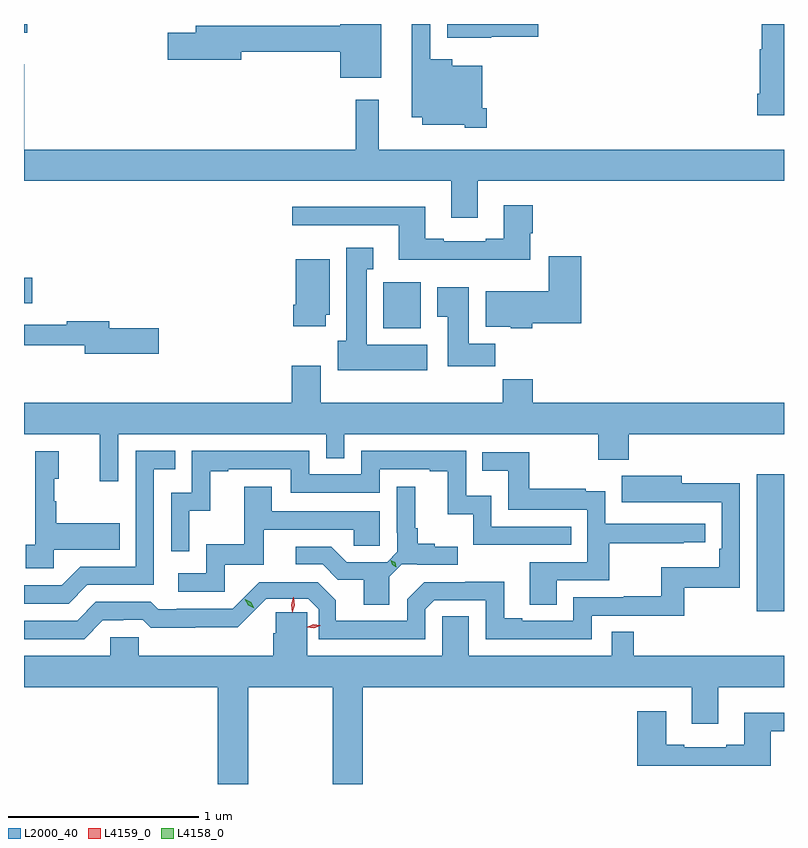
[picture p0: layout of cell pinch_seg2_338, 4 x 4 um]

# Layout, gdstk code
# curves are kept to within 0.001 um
import gdstk
lib = gdstk.Library(unit=1e-6, precision=1e-09)
def R(c, l, rs):  # rectangles x0, y0, x1, y1
    for r in rs: c.add(gdstk.rectangle(r[:2], r[2:], *l))
def P(c, l, *ps):  # polygons
    for p in ps: c.add(gdstk.Polygon(p, *l))
L2000_40 = (2000, 40)
L4158_0 = (4158, 0)
L4159_0 = (4159, 0)

pinch_seg2_338 = lib.new_cell('pinch_seg2_338')
R(pinch_seg2_338, L2000_40, [(1014.701,634.716,1014.844,635.437), (1012.736,636.206,1012.933,636.448), (1010.844,636.335,1010.887,636.47), (1010.844,637.76,1010.86,637.806)])
P(pinch_seg2_338, L2000_40, [(1014.844,637.806),(1014.728,637.806),(1014.728,637.674),(1014.716,637.674),(1014.716,637.438),(1014.704,637.438),(1014.704,637.326),(1014.844,637.326)],
  [(1012.723,637.806),(1012.508,637.806),(1012.508,637.796),(1011.749,637.796),(1011.749,637.76),(1011.6,637.76),(1011.6,637.618),(1011.988,637.618),(1011.988,637.66),(1012.508,637.66),(1012.508,637.523),(1012.723,637.523)],
  [(1013.304,637.739),(1013.551,637.739),(1013.551,637.806),(1013.072,637.806),(1013.072,637.733),(1013.304,637.733)],
  [(1013.279,637.363),(1013.257,637.363),(1013.257,637.585),(1013.098,637.585),(1013.098,637.621),(1012.983,637.621),(1012.983,637.806),(1012.886,637.806),(1012.886,637.316),(1012.94,637.316),(1012.94,637.277),(1013.163,637.277),(1013.163,637.259),(1013.279,637.259)],
  [(1013.233,636.98),(1014.844,636.98),(1014.844,637.144),(1012.71,637.144),(1012.71,637.408),(1012.591,637.408),(1012.591,637.144),(1010.845,637.144),(1010.845,637.594),(1010.844,637.594),(1010.844,636.98),(1013.093,636.98),(1013.093,636.786),(1013.233,636.786)],
  [(1013.509,636.705),(1013.522,636.705),(1013.522,636.853),(1013.369,636.853),(1013.369,636.676),(1013.273,636.676),(1013.273,636.663),(1013.053,636.663),(1013.053,636.676),(1012.957,636.676),(1012.957,636.844),(1012.257,636.844),(1012.257,636.747),(1012.817,636.747),(1012.817,636.566),(1013.509,636.566)],
  [(1012.966,636.118),(1012.648,636.118),(1012.648,636.515),(1012.681,636.515),(1012.681,636.628),(1012.541,636.628),(1012.541,636.138),(1012.496,636.138),(1012.496,635.984),(1012.966,635.984)],
  [(1013.52,636.23),(1013.777,636.23),(1013.777,636.583),(1013.606,636.583),(1013.606,636.4),(1013.273,636.4),(1013.273,636.212),(1013.406,636.212),(1013.406,636.206),(1013.52,636.206)],
  [(1012.432,636.276),(1012.453,636.276),(1012.453,636.568),(1012.274,636.568),(1012.274,636.328),(1012.262,636.328),(1012.262,636.216),(1012.432,636.216)],
  [(1013.324,636.124),(1013.185,636.124),(1013.185,636.421),(1013.018,636.421),(1013.018,636.265),(1013.075,636.265),(1013.075,636.006),(1013.324,636.006)],
  [(1011.553,636.206),(1011.292,636.206),(1011.292,636.242),(1011.068,636.242),(1011.068,636.222),(1010.844,636.222),(1010.844,636.114),(1011.164,636.114),(1011.164,636.071),(1011.553,636.071)],
  [(1011.339,635.648),(1012.434,635.648),(1012.434,635.521),(1012.53,635.521),(1012.53,635.648),(1013.866,635.648),(1013.866,635.513),(1014.026,635.513),(1014.026,635.648),(1014.844,635.648),(1014.844,635.812),(1013.522,635.812),(1013.522,635.936),(1013.365,635.936),(1013.365,635.812),(1012.405,635.812),(1012.405,636.007),(1012.253,636.007),(1012.253,635.812),(1010.844,635.812),(1010.844,635.648),(1011.242,635.648),(1011.242,635.4),(1011.339,635.4)],
  [(1011.714,635.243),(1011.824,635.243),(1011.824,635.451),(1011.919,635.451),(1011.919,635.463),(1012.248,635.463),(1012.248,635.34),(1012.716,635.34),(1012.716,635.463),(1012.979,635.463),(1012.979,635.451),(1013.075,635.451),(1013.075,635.225),(1013.208,635.225),(1013.208,635.064),(1013.723,635.064),(1013.723,635.16),(1013.304,635.16),(1013.304,635.323),(1013.172,635.323),(1013.172,635.559),(1012.62,635.559),(1012.62,635.436),(1012.344,635.436),(1012.344,635.559),(1011.726,635.559),(1011.726,635.34),(1011.618,635.34),(1011.618,635.031),(1011.714,635.031)],
  [(1011.178,634.854),(1011.528,634.854),(1011.528,635.463),(1011.641,635.463),(1011.641,635.559),(1011.432,635.559),(1011.432,634.95),(1011.141,634.95),(1011.042,634.851),(1010.844,634.851),(1010.844,634.755),(1011.079,634.755)],
  [(1011,635.039),(1011.347,635.039),(1011.347,635.179),(1011.013,635.179),(1011.013,635.294),(1011.003,635.294),(1011.003,635.412),(1011.028,635.412),(1011.028,635.557),(1010.904,635.557),(1010.904,635.066),(1010.853,635.066),(1010.853,634.941),(1011,634.941)],
  [(1013.647,634.878),(1013.924,634.878),(1013.924,635.074),(1014.317,635.074),(1014.317,635.079),(1014.43,635.079),(1014.43,635.175),(1013.904,635.175),(1013.904,635.347),(1013.801,635.347),(1013.801,635.359),(1013.503,635.359),(1013.503,635.553),(1013.257,635.553),(1013.257,635.456),(1013.392,635.456),(1013.392,635.25),(1013.808,635.25),(1013.808,634.974),(1013.507,634.974),(1013.507,634.75),(1013.647,634.75)],
  [(1011.259,634.668),(1011.366,634.668),(1011.366,634.671),(1011.469,634.671),(1011.511,634.629),(1011.744,634.629),(1011.744,634.631),(1011.97,634.631),(1012.12,634.781),(1012.339,634.781),(1012.394,634.726),(1012.394,634.569),(1012.956,634.569),(1012.956,634.725),(1013.004,634.773),(1013.274,634.773),(1013.274,634.569),(1013.832,634.569),(1013.832,634.692),(1014.319,634.692),(1014.319,634.839),(1014.612,634.839),(1014.612,635.39),(1014.307,635.39),(1014.307,635.428),(1013.989,635.428),(1013.989,635.288),(1014.516,635.289),(1014.516,635.044),(1014.503,635.044),(1014.503,634.948),(1014.198,634.948),(1014.198,634.793),(1014.001,634.793),(1014.001,634.788),(1013.736,634.788),(1013.736,634.665),(1013.467,634.665),(1013.467,634.678),(1013.371,634.678),(1013.371,634.871),(1013.166,634.871),(1013.166,634.869),(1012.95,634.869),(1012.86,634.779),(1012.86,634.665),(1012.484,634.665),(1012.484,634.774),(1012.389,634.869),(1012.083,634.869),(1011.942,634.728),(1011.649,634.728),(1011.649,634.725),(1011.55,634.725),(1011.511,634.764),(1011.222,634.764),(1011.123,634.665),(1010.844,634.665),(1010.844,634.569),(1011.16,634.569)],
  [(1012.767,634.897),(1012.832,634.962),(1012.914,634.962),(1012.914,634.959),(1013.128,634.959),(1013.128,635.056),(1013.007,635.056),(1013.007,635.07),(1012.917,635.07),(1012.917,635.152),(1012.903,635.152),(1012.903,635.371),(1012.806,635.371),(1012.806,635.128),(1012.809,635.128),(1012.809,635.028),(1012.755,634.974),(1012.543,634.974),(1012.462,635.055),(1012.275,635.055),(1012.275,634.962),(1012.416,634.962),(1012.496,634.882),(1012.631,634.882),(1012.631,634.75),(1012.767,634.75)],
  [(1011.9,634.959),(1012.105,634.959),(1012.105,635.145),(1012.579,635.145),(1012.579,635.06),(1012.716,635.06),(1012.716,635.241),(1012.147,635.241),(1012.147,635.371),(1012.003,635.371),(1012.003,635.068),(1011.804,635.068),(1011.804,634.914),(1011.657,634.914),(1011.657,634.818),(1011.9,634.818)],
  [(1012.023,634.316),(1012.468,634.316),(1012.468,633.806),(1012.628,633.806),(1012.628,634.316),(1014.359,634.316),(1014.359,634.122),(1014.499,634.122),(1014.499,634.316),(1014.844,634.316),(1014.844,634.48),(1014.053,634.48),(1014.053,634.607),(1013.937,634.607),(1013.937,634.48),(1013.185,634.48),(1013.185,634.688),(1013.046,634.688),(1013.046,634.48),(1012.334,634.48),(1012.334,634.711),(1012.169,634.711),(1012.169,634.6),(1012.157,634.6),(1012.157,634.48),(1011.447,634.48),(1011.447,634.578),(1011.297,634.578),(1011.297,634.48),(1010.844,634.48),(1010.844,634.316),(1011.863,634.316),(1011.863,633.806),(1012.023,633.806)],
  [(1014.775,634.083),(1014.844,634.083),(1014.844,634.18),(1014.635,634.18),(1014.635,634.012),(1014.539,634.012),(1014.539,633.999),(1014.319,633.999),(1014.319,634.012),(1014.223,634.012),(1014.223,634.189),(1014.071,634.189),(1014.071,633.902),(1014.775,633.902)])
P(pinch_seg2_338, L4158_0, [(1012.804,634.947),(1012.781,634.959),(1012.774,634.984),(1012.774,634.984),(1012.774,634.984),(1012.797,634.972),(1012.804,634.947),(1012.804,634.947)],
  [(1012.056,634.73),(1012.025,634.747),(1012.007,634.778),(1012.007,634.779),(1012.008,634.779),(1012.039,634.762),(1012.057,634.731),(1012.057,634.73)])
P(pinch_seg2_338, L4159_0, [(1012.368,634.626),(1012.331,634.632),(1012.331,634.632),(1012.331,634.632),(1012.366,634.646),(1012.403,634.641),(1012.403,634.641),(1012.403,634.64)],
  [(1012.257,634.708),(1012.257,634.708),(1012.25,634.749),(1012.262,634.789),(1012.262,634.789),(1012.263,634.789),(1012.27,634.748),(1012.257,634.708)])

lib.write_gds('pinch_seg2_338.gds')
